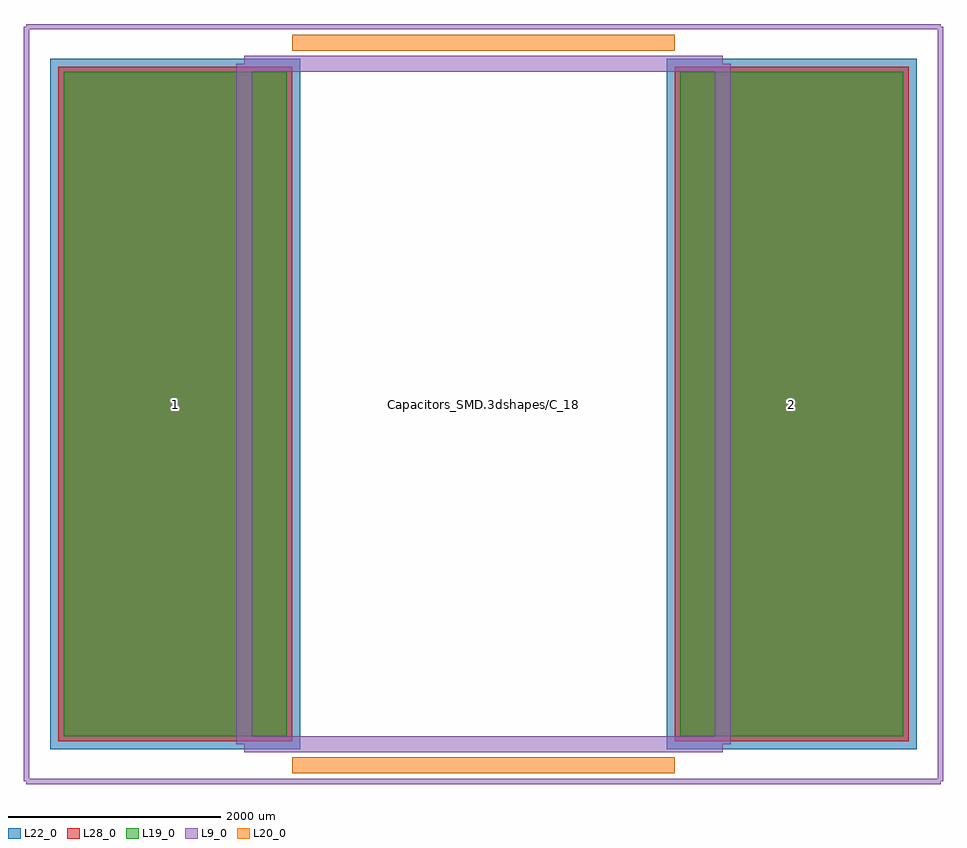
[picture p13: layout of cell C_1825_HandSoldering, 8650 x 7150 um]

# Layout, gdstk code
import gdstk
lib = gdstk.Library(unit=1e-6, precision=1e-09)
def R(c, l, rs):  # rectangles x0, y0, x1, y1
    for r in rs: c.add(gdstk.rectangle(r[:2], r[2:], *l))
L9_0 = (9, 0)
L19_0 = (19, 0)
L20_0 = (20, 0)
L22_0 = (22, 0)
L28_0 = (28, 0)

c_1825_handsoldering = lib.new_cell('C_1825_HandSoldering')
R(c_1825_handsoldering, L19_0, [(-3950,-3125,-1850,3125), (1850,-3125,3950,3125)])
R(c_1825_handsoldering, L22_0, [(-4075,-3250,-1725,3250), (1725,-3250,4075,3250)])
R(c_1825_handsoldering, L28_0, [(-4000,-3175,-1800,3175), (1800,-3175,4000,3175)])
c_1825_handsoldering.add(gdstk.FlexPath([(-1800,-3400),(1800,-3400)], 149.998, ends="flush", simple_path=True, layer=20, datatype=0))  # L20_0
c_1825_handsoldering.add(gdstk.FlexPath([(1800,3400),(-1800,3400)], 149.998, ends="flush", simple_path=True, layer=20, datatype=0))  # L20_0
c_1825_handsoldering.add(gdstk.FlexPath([(4300,3550),(4300,-3550)], 50, ends="flush", simple_path=True, layer=9, datatype=0))  # L9_0
c_1825_handsoldering.add(gdstk.FlexPath([(-4300,3550),(-4300,-3550)], 50, ends="flush", simple_path=True, layer=9, datatype=0))  # L9_0
c_1825_handsoldering.add(gdstk.FlexPath([(-4300,-3550),(4300,-3550)], 50, ends="flush", simple_path=True, layer=9, datatype=0))  # L9_0
c_1825_handsoldering.add(gdstk.FlexPath([(-4300,3550),(4300,3550)], 50, ends="flush", simple_path=True, layer=9, datatype=0))  # L9_0
c_1825_handsoldering.add(gdstk.FlexPath([(-2250,3200),(2250,3200)], 149.998, ends="flush", simple_path=True, layer=9, datatype=0))  # L9_0
c_1825_handsoldering.add(gdstk.FlexPath([(2250,3200),(2250,-3200)], 149.998, ends="flush", simple_path=True, layer=9, datatype=0))  # L9_0
c_1825_handsoldering.add(gdstk.FlexPath([(2250,-3200),(-2250,-3200)], 149.998, ends="flush", simple_path=True, layer=9, datatype=0))  # L9_0
c_1825_handsoldering.add(gdstk.FlexPath([(-2250,-3200),(-2250,3200)], 149.998, ends="flush", simple_path=True, layer=9, datatype=0))  # L9_0
c_1825_handsoldering.add(gdstk.Label('Capacitors_SMD.3dshapes/C_1825_HandSoldering.wrl', (0,0), layer=12, texttype=0))
c_1825_handsoldering.add(gdstk.Label('2', (2900,0), layer=28, texttype=0))
c_1825_handsoldering.add(gdstk.Label('1', (-2900,0), layer=28, texttype=0))
c_1825_handsoldering.add(gdstk.Label('type', (0,-4700), layer=9, texttype=0))
c_1825_handsoldering.add(gdstk.Label('devicename', (0,4700), layer=9, texttype=0))

lib.write_gds('C_1825_HandSoldering.gds')
